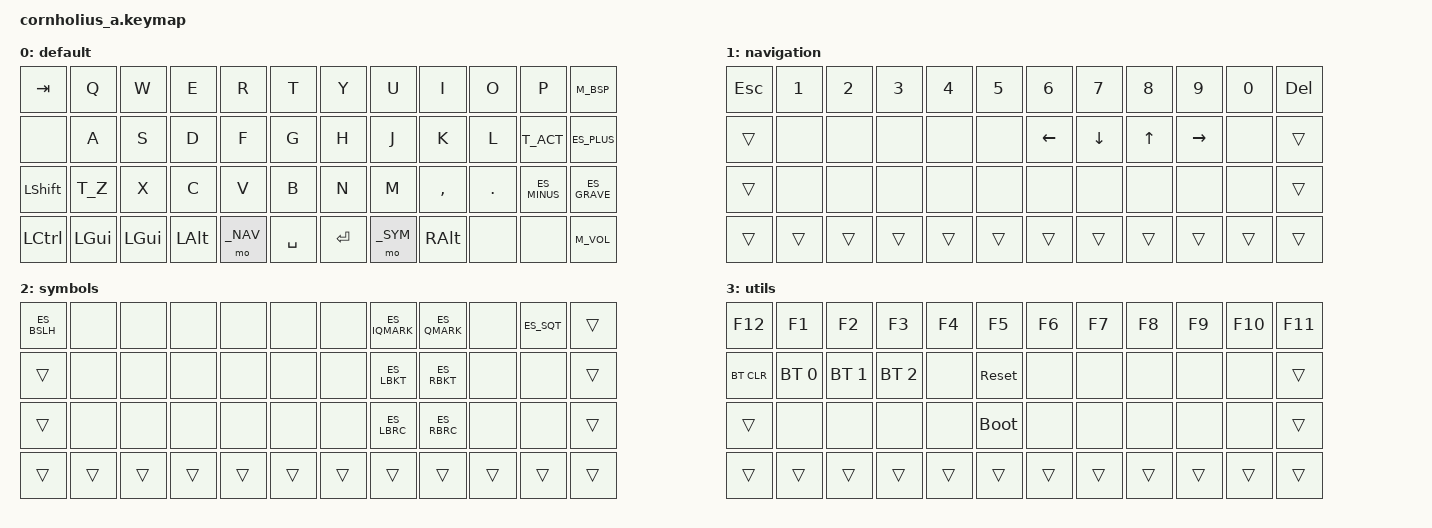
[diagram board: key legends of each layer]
/*
 * Copyright (c) 2022 The ZMK Contributors
 *
 * SPDX-License-Identifier: MIT
 */

#include <behaviors.dtsi>
#include <dt-bindings/zmk/bt.h>
#include <dt-bindings/zmk/keys.h>

#include "keys_es.h"

#define _DEF 0
#define _NAV 1
#define _SYM 2
#define _UTL 3

/ {
    behaviors {
        // mod morphs
        M_BSP: bspc_or_del {
            compatible = "zmk,behavior-mod-morph";
            #binding-cells = <0>;
            bindings = <&kp BSPC>, <&kp DEL>;
            mods = <(MOD_LSFT)>;
        };

        M_VOL: volup_or_voldn {
            compatible = "zmk,behavior-mod-morph";
            #binding-cells = <0>;
            bindings = <&kp C_VOL_UP>, <&kp C_VOL_DN>;
            mods = <(MOD_LSFT)>;
        };


        // tap dances
        T_Z: z_lt_gt {
            compatible = "zmk,behavior-tap-dance";
            #binding-cells = <0>;
            bindings = <&kp Z>, <&kp ES_LT>, <&kp ES_GT>;
        };

        T_ACT: acute_ntilde {
            compatible = "zmk,behavior-tap-dance";
            #binding-cells = <0>;
            bindings = <&kp ES_ACUTE>, <&kp ES_N_TILDE>;
        };
    };

    conditional_layers {
        compatible = "zmk,conditional-layers";
        tri_layer {
            if-layers = <_NAV _SYM>;
            then-layer = <_UTL>;
        };
    };
};


/ {
    keymap {
        compatible = "zmk,keymap";

        default {
            bindings = <
                &kp TAB       &kp Q         &kp W         &kp E         &kp R         &kp T         /**/     &kp Y         &kp U         &kp I         &kp O         &kp P         &M_BSP
                &none         &kp A         &kp S         &kp D         &kp F         &kp G         /**/     &kp H         &kp J         &kp K         &kp L         &T_ACT        &kp ES_PLUS
                &kp LSHFT     &T_Z          &kp X         &kp C         &kp V         &kp B         /**/     &kp N         &kp M         &kp COMMA     &kp DOT       &kp ES_MINUS  &kp ES_GRAVE
                &kp LCTRL     &kp LGUI      &kp LGUI      &kp LALT      &mo _NAV      &kp SPACE     /**/     &kp ENTER     &mo _SYM      &kp RALT      &none         &none         &M_VOL
            >;
        };

        navigation {
            bindings = <
                &kp ESC       &kp N1        &kp N2        &kp N3        &kp N4        &kp N5        /**/     &kp N6        &kp N7        &kp N8        &kp N9        &kp N0       &kp DEL
                &trans        &none         &none         &none         &none         &none         /**/     &kp LEFT      &kp DOWN      &kp UP        &kp RIGHT     &none        &trans
                &trans        &none         &none         &none         &none         &none         /**/     &none         &none         &none         &none         &none        &trans
                &trans        &trans        &trans        &trans        &trans        &trans        /**/     &trans        &trans        &trans        &trans        &trans       &trans
            >;
        };

        symbols {
            bindings = <
                &kp ES_BSLH   &none         &none         &none         &none         &none         /**/     &none         &kp ES_IQMARK &kp ES_QMARK  &none         &kp ES_SQT    &trans
                &trans        &none         &none         &none         &none         &none         /**/     &none         &kp ES_LBKT   &kp ES_RBKT   &none         &none         &trans
                &trans        &none         &none         &none         &none         &none         /**/     &none         &kp ES_LBRC   &kp ES_RBRC   &none         &none         &trans
                &trans        &trans        &trans        &trans        &trans        &trans        /**/     &trans        &trans        &trans        &trans        &trans        &trans
            >;
        };

        utils {
            bindings = <
                &kp F12       &kp F1        &kp F2        &kp F3        &kp F4        &kp F5        /**/     &kp F6        &kp F7        &kp F8        &kp F9        &kp F10       &kp F11
                &bt BT_CLR    &bt BT_SEL 0  &bt BT_SEL 1  &bt BT_SEL 2  &none         &sys_reset    /**/     &none         &none         &none         &none         &none         &trans
                &trans        &none         &none         &none         &none         &bootloader   /**/     &none         &none         &none         &none         &none         &trans
                &trans        &trans        &trans        &trans        &trans        &trans        /**/     &trans        &trans        &trans        &trans        &trans        &trans
            >;
        };
    };
};
